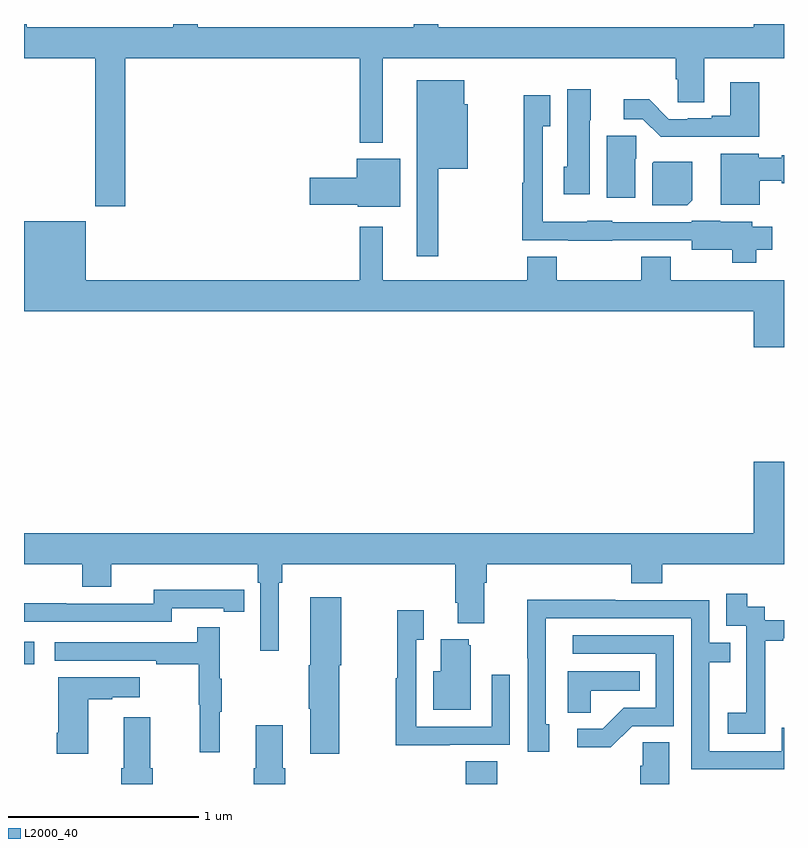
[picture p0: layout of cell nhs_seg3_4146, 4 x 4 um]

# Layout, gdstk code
import gdstk
lib = gdstk.Library(unit=1e-6, precision=1e-09)
def R(c, l, rs):  # rectangles x0, y0, x1, y1
    for r in rs: c.add(gdstk.rectangle(r[:2], r[2:], *l))
def P(c, l, *ps):  # polygons
    for p in ps: c.add(gdstk.Polygon(p, *l))
L2000_40 = (2000, 40)

nhs_seg3_4146 = lib.new_cell('nhs_seg3_4146')
R(nhs_seg3_4146, L2000_40, [(331.325,726.4,331.49,726.521), (329,727.029,329.053,727.15)])
P(nhs_seg3_4146, L2000_40, [(329,730.4),(329,730.22),(329.374,730.22),(329.374,729.441),(329.534,729.441),(329.534,730.22),(330.768,730.22),(330.768,729.776),(330.889,729.776),(330.889,730.22),(332.429,730.22),(332.429,730.11),(332.442,730.11),(332.442,729.988),(332.581,729.988),(332.581,730.22),(333,730.22),(333,730.4),(332.84,730.4),(332.84,730.384),(331.18,730.384),(331.18,730.4),(331.051,730.4),(331.051,730.384),(329.915,730.384),(329.915,730.4),(329.786,730.4),(329.786,730.384),(329.014,730.384),(329.014,730.4)],
  [(331.181,729.638),(331.336,729.638),(331.336,729.978),(331.318,729.978),(331.318,730.105),(331.067,730.105),(331.067,729.177),(331.181,729.177)],
  [(332.87,730.093),(332.717,730.093),(332.717,729.916),(332.621,729.916),(332.621,729.903),(332.494,729.903),(332.494,729.9),(332.394,729.9),(332.292,730.003),(332.157,730.003),(332.157,729.9),(332.256,729.9),(332.351,729.806),(332.87,729.806)],
  [(331.978,729.894),(331.984,729.894),(331.984,730.057),(331.859,730.057),(331.859,729.648),(331.841,729.648),(331.841,729.504),(331.978,729.504)],
  [(332.855,729.212),(332.938,729.212),(332.938,729.334),(332.832,729.334),(332.832,729.358),(332.664,729.358),(332.664,729.364),(332.514,729.364),(332.514,729.357),(332.097,729.357),(332.097,729.364),(331.965,729.364),(331.965,729.358),(331.731,729.358),(331.731,729.863),(331.771,729.863),(331.771,730.024),(331.63,730.024),(331.63,729.564),(331.623,729.564),(331.623,729.261),(331.865,729.261),(331.865,729.26),(332.097,729.26),(332.097,729.261),(332.514,729.261),(332.514,729.212),(332.727,729.212),(332.727,729.143),(332.855,729.143)],
  [(332.218,729.69),(332.222,729.69),(332.222,729.813),(332.066,729.813),(332.066,729.486),(332.218,729.486)],
  [(332.872,729.575),(332.988,729.575),(332.988,729.563),(333,729.563),(333,729.71),(332.988,729.71),(332.988,729.697),(332.868,729.697),(332.868,729.718),(332.666,729.718),(332.666,729.449),(332.872,729.449)],
  [(330.979,729.691),(330.752,729.691),(330.752,729.59),(330.504,729.59),(330.504,729.448),(330.756,729.448),(330.756,729.437),(330.979,729.437)],
  [(332.518,729.472),(332.518,729.676),(332.314,729.676),(332.306,729.668),(332.306,729.446),(332.492,729.446)],
  [(333,729.052),(332.403,729.052),(332.403,729.176),(332.248,729.176),(332.248,729.052),(331.803,729.052),(331.803,729.176),(331.648,729.176),(331.648,729.052),(330.889,729.052),(330.889,729.334),(330.768,729.334),(330.768,729.052),(329.326,729.052),(329.326,729.361),(329,729.361),(329,728.888),(332.84,728.888),(332.84,728.7),(333,728.7)],
  [(329,727.556),(329.306,727.556),(329.306,727.439),(329.458,727.439),(329.458,727.556),(330.23,727.556),(330.23,727.46),(330.243,727.46),(330.243,727.101),(330.34,727.101),(330.34,727.46),(330.359,727.46),(330.359,727.556),(331.271,727.556),(331.271,727.354),(331.283,727.354),(331.283,727.247),(331.423,727.247),(331.423,727.46),(331.436,727.46),(331.436,727.556),(332.195,727.556),(332.195,727.457),(332.36,727.457),(332.36,727.556),(333,727.556),(333,728.095),(332.84,728.095),(332.84,727.72),(329,727.72)],
  [(329.778,727.326),(330.05,727.326),(330.05,727.306),(330.158,727.306),(330.158,727.422),(330.05,727.422),(330.05,727.423),(329.682,727.423),(329.682,727.35),(329.222,727.35),(329.222,727.352),(329,727.352),(329,727.254),(329.778,727.254)],
  [(332.901,726.871),(332.9,726.871),(332.9,727.155),(332.995,727.155),(332.995,727.167),(333,727.167),(333,727.263),(332.898,727.263),(332.898,727.332),(332.806,727.332),(332.806,727.402),(332.697,727.402),(332.697,727.233),(332.802,727.233),(332.802,727.004),(332.801,727.004),(332.801,726.775),(332.703,726.775),(332.703,726.665),(332.901,726.665)],
  [(330.66,727.026),(330.67,727.026),(330.67,727.384),(330.506,727.384),(330.506,727.026),(330.499,727.026),(330.499,726.796),(330.506,726.796),(330.506,726.558),(330.66,726.558)],
  [(333,726.696),(332.988,726.696),(332.988,726.573),(332.607,726.573),(332.607,727.042),(332.717,727.042),(332.717,727.143),(332.607,727.143),(332.607,727.368),(332.111,727.368),(332.111,727.37),(331.648,727.37),(331.648,727.063),(331.65,727.063),(331.65,726.57),(331.765,726.57),(331.765,726.714),(331.746,726.714),(331.746,727.272),(332.511,727.272),(332.511,726.477),(333,726.477)],
  [(331.241,726.606),(331.557,726.606),(331.557,726.976),(331.461,726.976),(331.461,726.702),(331.065,726.702),(331.065,727.159),(331.105,727.159),(331.105,727.315),(330.964,727.315),(330.964,726.956),(330.957,726.956),(330.957,726.605),(331.241,726.605)],
  [(330.029,726.779),(330.04,726.779),(330.04,726.953),(330.029,726.953),(330.029,727.225),(329.911,727.225),(329.911,727.146),(329.163,727.146),(329.163,727.05),(329.695,727.05),(329.695,727.03),(329.919,727.03),(329.919,726.816),(329.926,726.816),(329.926,726.567),(330.029,726.567)],
  [(332.202,726.705),(332.421,726.705),(332.421,727.182),(331.887,727.182),(331.887,727.086),(332.325,727.086),(332.325,726.801),(332.156,726.801),(332.045,726.69),(331.911,726.69),(331.911,726.593),(332.089,726.593)],
  [(331.351,727.131),(331.34,727.131),(331.34,727.162),(331.193,727.162),(331.193,726.994),(331.154,726.994),(331.154,726.791),(331.351,726.791)],
  [(331.983,726.89),(332.24,726.89),(332.24,726.994),(331.862,726.994),(331.862,726.775),(331.983,726.775)],
  [(329.338,726.847),(329.465,726.847),(329.465,726.857),(329.608,726.857),(329.608,726.961),(329.18,726.961),(329.18,726.67),(329.173,726.67),(329.173,726.558),(329.338,726.558)],
  [(329.678,726.484),(329.665,726.484),(329.665,726.751),(329.525,726.751),(329.525,726.484),(329.513,726.484),(329.513,726.4),(329.678,726.4)],
  [(330.374,726.484),(330.361,726.484),(330.361,726.709),(330.221,726.709),(330.221,726.484),(330.209,726.484),(330.209,726.4),(330.374,726.4)],
  [(332.395,726.62),(332.256,726.62),(332.256,726.497),(332.243,726.497),(332.243,726.4),(332.395,726.4)])

lib.write_gds('nhs_seg3_4146.gds')
